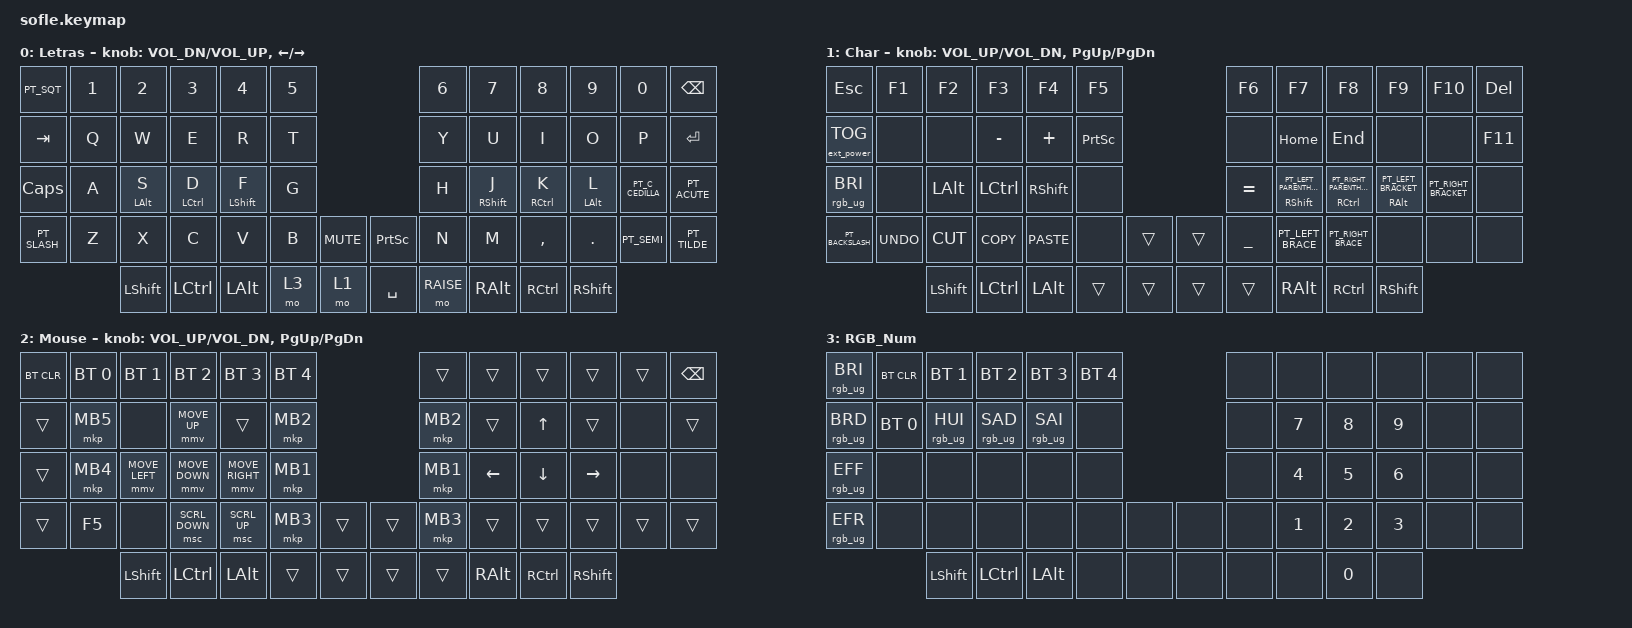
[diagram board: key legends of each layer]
/*
 * Copyright (c) 2020 The ZMK Contributors
 *
 * SPDX-License-Identifier: MIT
 */

#include <behaviors/mouse_keys.dtsi>
#include <behaviors.dtsi>
#include <dt-bindings/zmk/bt.h>
#include <dt-bindings/zmk/ext_power.h>
#include <dt-bindings/zmk/keys.h>
#include <dt-bindings/zmk/pointing.h>
#include <dt-bindings/zmk/rgb.h>
#include "keys_pt_abnt2.h"

#define BASE 0
#define LOWER 1
#define RAISE 2
#define ADJUST 3

/ {
    // AJUSTE DE TEMPO GLOBAL PARA O MOD-TAP (&mt)

    chosen { zmk,tapping-term-ms = <480>; };

    // Altera o comportamento global para dar preferência ao toque rápido

    behaviors {
        mt { flavor = "tap-preferred"; };

        // Seu comportamento customizado para a Home Row

        HWR: HWR {
            compatible = "zmk,behavior-hold-tap";
            label = "HWR";
            #binding-cells = <2>;
            bindings = <&kp>, <&kp>;

            quick-tap-ms = <175>;
            hold-trigger-on-release;
            flavor = "tap-preferred";
            tapping-term-ms = <275>;
        };

        // CONFIGURAÇÃO DO MOUSE: Deixa o ponteiro ágil e rápido

        mmv {
            compatible = "zmk,behavior-point-move";
            #binding-cells = <1>;
            trigger-period-ms = <16>;      // Atualização fluida em 60Hz
            time-to-max-speed-ms = <150>;   // Arranca para a velocidade máxima quase instantaneamente (apenas 100ms)
            acceleration-exponent = <3>;    // Expoente 2 ativa aceleração em curva (multiplica a velocidade conforme segura)
        };

        // CONFIGURAÇÃO DO SCROLL: Rolagem de página ágil

        msc {
            compatible = "zmk,behavior-point-scroll";
            #binding-cells = <1>;
            trigger-period-ms = <16>;
            time-to-max-speed-ms = <130>;
        };
    };

    // Activate ADJUST layer by pressing raise and lower
    /*
    conditional_layers {
        compatible = "zmk,conditional-layers";

        adjust_layer {
            if-layers = <LOWER RAISE>;
            then-layer = <ADJUST>;
        };
    };
    */

    keymap {
        compatible = "zmk,keymap";

        default_layer {
            display-name = "Letras";

            // ------------------------------------------------------------------------------------------------------------
            // |   `   |  1  |  2  |  3   |  4   |  5   |                   |  6   |  7    |  8    |  9   |   0   |       |
            // |  ESC  |  Q  |  W  |  E   |  R   |  T   |                   |  Y   |  U    |  I    |  O   |   P   | BKSPC |
            // |  TAB  |  A  |  S  |  D   |  F   |  G   |                   |  H   |  J    |  K    |  L   |   ;   |   '   |
            // | SHIFT |  Z  |  X  |  C   |  V   |  B   |  MUTE  | |        |  N   |  M    |  ,    |  .   |   /   | SHIFT |
            //                | GUI | ALT  | CTRL | LOWER|  ENTER | | SPACE | RAISE| CTRL  | ALT   | GUI  |

            bindings = <
&kp PT_SQT    &kp N1  &kp N2           &kp N3        &kp N4        &kp N5                                 &kp N6     &kp N7         &kp N8             &kp N9       &kp N0            &kp BACKSPACE
&kp TAB       &kp Q   &kp W            &kp E         &kp R         &kp T                                  &kp Y      &kp U          &kp I              &kp O        &kp P             &kp ENTER
&kp CAPS      &kp A   &HWR LEFT_ALT S  &HWR LCTRL D  &HWR LSHFT F  &kp G                                  &kp H      &HWR RSHFT J   &HWR RCTRL K       &HWR LALT L  &kp PT_C_CEDILLA  &kp PT_ACUTE
&kp PT_SLASH  &kp Z   &kp X            &kp C         &kp V         &kp B   &kp K_MUTE    &kp PRINTSCREEN  &kp N      &kp M          &kp COMMA          &kp DOT      &kp PT_SEMI       &kp PT_TILDE
                      &kp LSHFT        &kp LCTRL     &kp LEFT_ALT  &mo 3   &mo 1         &kp SPACE        &mo RAISE  &kp RIGHT_ALT  &kp RIGHT_CONTROL  &kp RSHFT
            >;

            sensor-bindings =
                <&inc_dec_kp C_VOL_DN C_VOL_UP>,
                <&inc_dec_kp LEFT_ARROW RIGHT_ARROW>;
        };

        lower_layer {
            display-name = "Char";

            // TODO: Some binds are waiting for shifted keycode support.
            // ------------------------------------------------------------------------------------------------------------
            // |       |  F1 |  F2 |  F3  |  F4  |  F5  |                   |  F6  |  F7   |  F8   |  F9  |  F10  |  F11  |
            // |   `   |  1  |  2  |  3   |  4   |  5   |                   |  6   |  7    |  8    |  9   |   0   |  F12  |
            // |       |  !  |  @  |  #   |  $   |  %   |                   |  ^   |  &    |  * |  (   |   )   |   |   |
            // |       |  =  |  -  |  +   |  {   |  }   |        | |        |  [   |  ]    |  ;    |  :   |   \   |       |
            //                |     |      |      |      |        | |        |      |       |       |      |

            bindings = <
&kp ESC            &kp F1      &kp F2        &kp F3      &kp F4        &kp F5                             &kp F6          &kp F7                         &kp F8                          &kp F9                         &kp F10               &kp DEL
&ext_power EP_TOG  &none       &none         &kp MINUS   &kp PLUS      &kp PRINTSCREEN                    &none           &kp HOME                       &kp END                         &none                          &none                 &kp F11
&rgb_ug RGB_BRI    &none       &kp LEFT_ALT  &kp LCTRL   &kp RSHFT     &none                              &kp EQUAL       &mt RSHFT PT_LEFT_PARENTHESIS  &mt RCTRL PT_RIGHT_PARENTHESIS  &mt RIGHT_ALT PT_LEFT_BRACKET  &kp PT_RIGHT_BRACKET  &none
&kp PT_BACKSLASH   &kp K_UNDO  &kp K_CUT     &kp K_COPY  &kp K_PASTE   &none            &trans    &trans  &kp UNDERSCORE  &kp PT_LEFT_BRACE              &kp PT_RIGHT_BRACE              &none                          &none                 &none
                               &kp LSHFT     &kp LCTRL   &kp LEFT_ALT  &trans           &trans    &trans  &trans          &kp RIGHT_ALT                  &kp RCTRL                       &kp RSHFT
            >;

            sensor-bindings = <&inc_dec_kp C_VOL_UP C_VOL_DN &inc_dec_kp PG_UP PG_DN>;
        };

        raise_layer {
            display-name = "Mouse";

            // ------------------------------------------------------------------------------------------------------------
            // | BTCLR | BT1  | BT2  |  BT3  |  BT4  |  BT5 |                |      |      |       |      |       |       |
            // |       | INS  | PSCR | GUI   |       |      |                | PGUP |      |   ^   |      |       |       |
            // |       | ALT  | CTRL | SHIFT |       | CAPS |                | PGDN |  <-  |   v   |  ->  |  DEL  | BKSPC |
            // |       | UNDO | CUT  | COPY  | PASTE |      |      | |        |      |      |       |      |       |       |
            //                |      |       |       |       |      | |        |      |      |       |      |

            bindings = <
&bt BT_CLR  &bt BT_SEL 0  &bt BT_SEL 1    &bt BT_SEL 2    &bt BT_SEL 3     &bt BT_SEL 4                    &trans    &trans         &trans     &trans     &trans  &kp BACKSPACE
&trans      &mkp MB5      &none           &mmv MOVE_UP    &trans           &mkp MB2                        &mkp MB2  &trans         &kp UP     &trans     &none   &trans
&trans      &mkp MB4      &mmv MOVE_LEFT  &mmv MOVE_DOWN  &mmv MOVE_RIGHT  &mkp MB1                        &mkp MB1  &kp LEFT       &kp DOWN   &kp RIGHT  &none   &none
&trans      &kp F5        &none           &msc SCRL_DOWN  &msc SCRL_UP     &mkp MB3      &trans    &trans  &mkp MB3  &trans         &trans     &trans     &trans  &trans
                          &kp LSHFT       &kp LCTRL       &kp LEFT_ALT     &trans        &trans    &trans  &trans    &kp RIGHT_ALT  &kp RCTRL  &kp RSHFT
            >;

            sensor-bindings = <&inc_dec_kp C_VOL_UP C_VOL_DN &inc_dec_kp PG_UP PG_DN>;
        };

        adjust_layer {
            display-name = "RGB_Num";
            bindings = <
&rgb_ug RGB_BRI  &bt BT_CLR    &bt BT_SEL 1     &bt BT_SEL 2     &bt BT_SEL 3     &bt BT_SEL 4                  &none  &none         &none         &none         &none  &none
&rgb_ug RGB_BRD  &bt BT_SEL 0  &rgb_ug RGB_HUI  &rgb_ug RGB_SAD  &rgb_ug RGB_SAI  &none                         &none  &kp NUMBER_7  &kp NUMBER_8  &kp NUMBER_9  &none  &none
&rgb_ug RGB_EFF  &none         &none            &none            &none            &none                         &none  &kp NUMBER_4  &kp NUMBER_5  &kp NUMBER_6  &none  &none
&rgb_ug RGB_EFR  &none         &none            &none            &none            &none         &none    &none  &none  &kp NUMBER_1  &kp NUMBER_2  &kp NUMBER_3  &none  &none
                               &kp LSHFT        &kp LCTRL        &kp LEFT_ALT     &none         &none    &none  &none  &none         &kp NUMBER_0  &none
            >;
        };
    };
};
